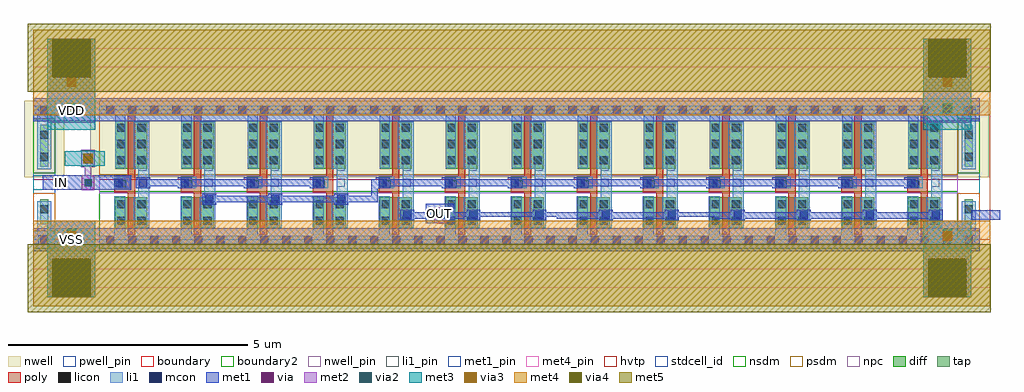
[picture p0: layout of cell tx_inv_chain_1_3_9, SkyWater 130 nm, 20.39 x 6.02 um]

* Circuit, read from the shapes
.subckt tx_inv_chain_1_3_9 IN OUT VDD VSS
XM1 sky130_fd_sc_hd__inv_1_32/A IN VSS VSS sky130_fd_pr__nfet_01v8 w=0.65 l=0.15
XM2 sky130_fd_sc_hd__inv_1_33/A sky130_fd_sc_hd__inv_1_32/A VSS VSS sky130_fd_pr__nfet_01v8 w=0.65 l=0.15 m=3
XM3 OUT sky130_fd_sc_hd__inv_1_33/A VSS VSS sky130_fd_pr__nfet_01v8 w=0.65 l=0.15 m=9
XM4 sky130_fd_sc_hd__inv_1_32/A IN VDD VDD sky130_fd_pr__pfet_01v8_hvt w=1 l=0.15
XM5 sky130_fd_sc_hd__inv_1_33/A sky130_fd_sc_hd__inv_1_32/A VDD VDD sky130_fd_pr__pfet_01v8_hvt w=1 l=0.15 m=3
XM6 OUT sky130_fd_sc_hd__inv_1_33/A VDD VDD sky130_fd_pr__pfet_01v8_hvt w=1 l=0.15 m=9
.ends

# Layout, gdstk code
import gdstk
lib = gdstk.Library(unit=1e-6, precision=1e-09)
def R(c, l, rs):  # rectangles x0, y0, x1, y1
    for r in rs: c.add(gdstk.rectangle(r[:2], r[2:], *l))
def A(c, l, x, y, w, h, nx, ny, dx, dy):  # array of equal rectangles
    R(c, l, [(x+i*dx, y+j*dy, x+i*dx+w, y+j*dy+h) for i in range(nx) for j in range(ny)])
def P(c, l, *ps):  # polygons
    for p in ps: c.add(gdstk.Polygon(p, *l))
nwell_pin = (64, 16)
nwell = (64, 20)
diff = (65, 20)
tap = (65, 44)
poly = (66, 20)
licon = (66, 44)
li1_pin = (67, 16)
li1 = (67, 20)
mcon = (67, 44)
met1_pin = (68, 16)
met1 = (68, 20)
via = (68, 44)
met2 = (69, 20)
via2 = (69, 44)
met3 = (70, 20)
via3 = (70, 44)
met4_pin = (71, 16)
met4 = (71, 20)
via4 = (71, 44)
met5 = (72, 20)
hvtp = (78, 44)
stdcell_id = (81, 4)
nsdm = (93, 44)
psdm = (94, 20)
npc = (95, 20)
pwell_pin = (122, 16)
boundary = (235, 4)
boundary2 = (236, 0)

via_m2m3_pr = lib.new_cell('VIA_M2M3_PR')
R(via_m2m3_pr, met2, [(-0.14,-0.185,0.14,0.185)])
R(via_m2m3_pr, met3, [(-0.165,-0.165,0.165,0.165)])
R(via_m2m3_pr, via3, [(-0.1,-0.1,0.1,0.1)])

via_m1m2_pr = lib.new_cell('VIA_M1M2_PR')
R(via_m1m2_pr, met1, [(-0.16,-0.13,0.16,0.13)])
R(via_m1m2_pr, met2, [(-0.13,-0.16,0.13,0.16)])
R(via_m1m2_pr, via2, [(-0.075,-0.075,0.075,0.075)])

via_l1m1_pr_mr = lib.new_cell('VIA_L1M1_PR_MR')
R(via_l1m1_pr_mr, li1, [(-0.085,-0.085,0.085,0.085)])
R(via_l1m1_pr_mr, mcon, [(-0.085,-0.085,0.085,0.085)])
R(via_l1m1_pr_mr, met1, [(-0.145,-0.115,0.145,0.115)])

sky130_fd_sc_hd__tapvpwr = lib.new_cell('sky130_fd_sc_hd__tapvpwrvgnd_1')
R(sky130_fd_sc_hd__tapvpwr, nwell, [(-0.19,1.305,0.65,2.91)])
R(sky130_fd_sc_hd__tapvpwr, tap, [(0.145,0.32,0.315,0.845), (0.145,1.525,0.315,2.4)])
R(sky130_fd_sc_hd__tapvpwr, licon, [(0.145,0.555,0.315,0.725), (0.145,1.645,0.315,1.815), (0.145,2.11,0.315,2.28)])
R(sky130_fd_sc_hd__tapvpwr, li1, [(0,-0.085,0.46,0.085), (0.085,0,0.375,0.81), (0.085,1.47,0.375,2.72), (0,2.635,0.46,2.805)])
R(sky130_fd_sc_hd__tapvpwr, mcon, [(0.145,-0.085,0.315,0.085), (0.145,2.635,0.315,2.805)])
R(sky130_fd_sc_hd__tapvpwr, met1_pin, [(0.105,-0.09,0.36,0.1), (0.11,2.62,0.375,2.765)])
R(sky130_fd_sc_hd__tapvpwr, met1, [(0,-0.24,0.46,0.24), (0,2.48,0.46,2.96)])
R(sky130_fd_sc_hd__tapvpwr, hvtp, [(0,1.25,0.46,2.72)])
R(sky130_fd_sc_hd__tapvpwr, stdcell_id, [(0,0,0.46,2.72)])
R(sky130_fd_sc_hd__tapvpwr, nsdm, [(0,-0.19,0.46,0.19), (0,1.395,0.46,2.53)])
R(sky130_fd_sc_hd__tapvpwr, psdm, [(0,0.19,0.46,0.975), (0,2.53,0.46,2.91)])
sky130_fd_sc_hd__tapvpwr.add(gdstk.Label('VPWR', (0.23,2.72), layer=68, texttype=5))
sky130_fd_sc_hd__tapvpwr.add(gdstk.Label('VGND', (0.23,0), layer=68, texttype=5))
sky130_fd_sc_hd__tapvpwr.add(gdstk.Label('tapvpwrvgnd_1', (0,0), layer=83, texttype=44))

sky130_fd_sc_hd__inv_1 = lib.new_cell('sky130_fd_sc_hd__inv_1')
R(sky130_fd_sc_hd__inv_1, nwell_pin, [(0.145,2.635,0.315,2.805), (0.145,2.635,0.315,2.805)])
R(sky130_fd_sc_hd__inv_1, nwell, [(-0.19,1.305,1.57,2.91)])
R(sky130_fd_sc_hd__inv_1, diff, [(0.34,0.235,1.01,0.885), (0.34,1.485,1.01,2.485)])
P(sky130_fd_sc_hd__inv_1, poly, [(0.6,0.105),(0.6,0.995),(0.32,0.995),(0.32,1.325),(0.6,1.325),(0.6,2.615),(0.75,2.615),(0.75,0.105)])
A(sky130_fd_sc_hd__inv_1, licon, 0.38, 1.575, 0.17, 0.17, 1, 3, 0, 0.34)
A(sky130_fd_sc_hd__inv_1, licon, 0.8, 1.575, 0.17, 0.17, 1, 3, 0, 0.34)
R(sky130_fd_sc_hd__inv_1, licon, [(0.38,0.315,0.55,0.485), (0.8,0.315,0.97,0.485), (0.38,0.655,0.55,0.825), (0.8,0.655,0.97,0.825), (0.4,1.075,0.57,1.245)])
R(sky130_fd_sc_hd__inv_1, li1_pin, [(0.36,1.105,0.53,1.275), (0.82,1.105,0.99,1.275), (0.82,1.445,0.99,1.615)])
R(sky130_fd_sc_hd__inv_1, li1, [(0,-0.085,1.38,0.085), (0.32,0.005,0.55,0.905), (0.32,1.075,0.65,1.315), (0.34,1.495,0.55,2.675), (0,2.635,1.38,2.805)])
P(sky130_fd_sc_hd__inv_1, li1, [(0.72,0.255),(0.72,0.885),(0.82,0.885),(0.82,1.485),(0.72,1.485),(0.72,2.465),(1.05,2.465),(1.05,0.255)])
A(sky130_fd_sc_hd__inv_1, mcon, 0.145, -0.085, 0.17, 0.17, 3, 2, 0.46, 2.72)
R(sky130_fd_sc_hd__inv_1, met1_pin, [(0.145,-0.085,0.315,0.085), (0.145,-0.085,0.315,0.085), (0.145,2.635,0.315,2.805), (0.145,2.635,0.315,2.805)])
R(sky130_fd_sc_hd__inv_1, hvtp, [(0,1.25,1.38,2.72)])
R(sky130_fd_sc_hd__inv_1, stdcell_id, [(0,0,1.38,2.72)])
R(sky130_fd_sc_hd__inv_1, nsdm, [(0,-0.19,1.38,1.015)])
R(sky130_fd_sc_hd__inv_1, psdm, [(0,1.355,1.38,2.91)])
R(sky130_fd_sc_hd__inv_1, npc, [(0,0.975,1.38,1.345)])
R(sky130_fd_sc_hd__inv_1, pwell_pin, [(0.145,-0.085,0.315,0.085), (0.145,-0.085,0.315,0.085)])
R(sky130_fd_sc_hd__inv_1, boundary2, [(0,0,1.38,2.72)])
sky130_fd_sc_hd__inv_1.add(gdstk.FlexPath([(0,2.72),(1.38,2.72)], 0.48, ends="flush", simple_path=True, layer=68, datatype=20))  # met1
sky130_fd_sc_hd__inv_1.add(gdstk.FlexPath([(0,0),(1.38,0)], 0.48, ends="flush", simple_path=True, layer=68, datatype=20))  # met1
sky130_fd_sc_hd__inv_1.add(gdstk.Label('VGND', (0.23,0), layer=68, texttype=5))
sky130_fd_sc_hd__inv_1.add(gdstk.Label('VPWR', (0.23,2.72), layer=68, texttype=5))
sky130_fd_sc_hd__inv_1.add(gdstk.Label('inv_1', (0,0), layer=83, texttype=44))
sky130_fd_sc_hd__inv_1.add(gdstk.Label('Y', (0.905,1.53), layer=67, texttype=5))
sky130_fd_sc_hd__inv_1.add(gdstk.Label('Y', (0.905,1.19), layer=67, texttype=5))
sky130_fd_sc_hd__inv_1.add(gdstk.Label('A', (0.445,1.19), layer=67, texttype=5))
sky130_fd_sc_hd__inv_1.add(gdstk.Label('VNB', (0.23,0), layer=64, texttype=59))
sky130_fd_sc_hd__inv_1.add(gdstk.Label('VPB', (0.23,2.72), layer=64, texttype=5))

tx_inv_chain_1_3_9 = lib.new_cell('tx_inv_chain_1_3_9')
R(tx_inv_chain_1_3_9, met1_pin, [(8.2,0.35,8.8,0.75), (0,1.05,1.2,1.35)])
R(tx_inv_chain_1_3_9, met1, [(0,-0.24,19.47,0.24), (19.6,0.42,20.2,0.62), (0.2,1.05,2.055,1.35), (2.23,1.12,5.995,1.26), (0,2.48,19.47,2.96)])
P(tx_inv_chain_1_3_9, met1, [(8.2,0.35),(8.2,0.44),(7.75,0.44),(7.75,0.58),(8.2,0.58),(8.2,0.75),(8.8,0.75),(8.8,0.58),(18.93,0.58),(18.93,0.44),(14.24,0.44),(14.24,0.48),(13.24,0.48),(13.24,0.44),(10.94,0.44),(10.94,0.48),(9,0.48),(9,0.44),(8.8,0.44),(8.8,0.35)],
  [(3.61,0.78),(3.61,0.92),(7.06,0.92),(7.06,1.26),(18.415,1.26),(18.415,1.12),(7.2,1.12),(7.2,0.78)])
R(tx_inv_chain_1_3_9, via, [(0.725,-0.01,0.875,0.14), (19.025,-0.01,19.175,0.14), (0.725,2.66,0.875,2.81), (19.025,2.66,19.175,2.81)])
R(tx_inv_chain_1_3_9, met2, [(0.3,-1.2,1.3,0.4), (18.6,-1.2,19.6,0.4), (8.44,0.34,8.58,0.58), (1.08,1.12,1.22,1.77), (0.3,2.45,1.3,4.2), (18.6,2.45,19.6,4.2)])
R(tx_inv_chain_1_3_9, via2, [(0.7,0.03,0.9,0.23), (19,0.03,19.2,0.23), (0.7,2.65,0.9,2.85), (19,2.65,19.2,2.85)])
R(tx_inv_chain_1_3_9, met3, [(0.3,-1.2,1.3,0.4), (18.6,-1.2,19.6,0.4), (0.66,1.55,1.5,1.85), (0.3,2.3,1.3,4.2), (18.6,2.3,19.6,4.2)])
R(tx_inv_chain_1_3_9, via3, [(0.7,-0.02,0.9,0.18), (19,-0.02,19.2,0.18), (0.7,3.2,0.9,3.4), (19,3.2,19.2,3.4)])
R(tx_inv_chain_1_3_9, met4_pin, [(0,-1,20,-0.6), (0,3.6,20,4)])
R(tx_inv_chain_1_3_9, met4, [(0,-1.39,20,0.4), (0,2.6,20,4.39)])
R(tx_inv_chain_1_3_9, via4, [(0.4,-1.2,1.2,-0.4), (18.7,-1.2,19.5,-0.4), (0.4,3.4,1.2,4.2), (18.7,3.4,19.5,4.2)])
R(tx_inv_chain_1_3_9, met5, [(-0.11,-1.51,20.01,-0.09), (-0.11,3.09,20.01,4.51)])
R(tx_inv_chain_1_3_9, boundary, [(0,0,20,4)])
tx_inv_chain_1_3_9.add(gdstk.Reference(via_m2m3_pr, (1.15,1.7)))
tx_inv_chain_1_3_9.add(gdstk.Reference(via_m1m2_pr, (1.15,1.19)))
tx_inv_chain_1_3_9.add(gdstk.Reference(via_l1m1_pr_mr, (1.785,1.19)))
tx_inv_chain_1_3_9.add(gdstk.Reference(via_l1m1_pr_mr, (17.48,0.51)))
tx_inv_chain_1_3_9.add(gdstk.Reference(via_l1m1_pr_mr, (18.86,0.51)))
tx_inv_chain_1_3_9.add(gdstk.Reference(via_l1m1_pr_mr, (16.1,0.51)))
tx_inv_chain_1_3_9.add(gdstk.Reference(via_l1m1_pr_mr, (14.72,0.51)))
tx_inv_chain_1_3_9.add(gdstk.Reference(via_l1m1_pr_mr, (13.34,0.51)))
tx_inv_chain_1_3_9.add(gdstk.Reference(via_l1m1_pr_mr, (11.96,0.51)))
tx_inv_chain_1_3_9.add(gdstk.Reference(via_l1m1_pr_mr, (10.58,0.51)))
tx_inv_chain_1_3_9.add(gdstk.Reference(via_l1m1_pr_mr, (9.2,0.51)))
tx_inv_chain_1_3_9.add(gdstk.Reference(via_l1m1_pr_mr, (7.82,0.51)))
tx_inv_chain_1_3_9.add(gdstk.Reference(via_m1m2_pr, (8.51,0.51)))
tx_inv_chain_1_3_9.add(gdstk.Reference(via_l1m1_pr_mr, (3.165,1.19)))
tx_inv_chain_1_3_9.add(gdstk.Reference(via_l1m1_pr_mr, (2.3,1.19)))
tx_inv_chain_1_3_9.add(gdstk.Reference(via_l1m1_pr_mr, (4.545,1.19)))
tx_inv_chain_1_3_9.add(gdstk.Reference(via_l1m1_pr_mr, (5.925,1.19)))
tx_inv_chain_1_3_9.add(gdstk.Reference(via_l1m1_pr_mr, (5.06,0.85)))
tx_inv_chain_1_3_9.add(gdstk.Reference(via_l1m1_pr_mr, (3.68,0.85)))
tx_inv_chain_1_3_9.add(gdstk.Reference(via_l1m1_pr_mr, (6.44,0.85)))
tx_inv_chain_1_3_9.add(gdstk.Reference(via_l1m1_pr_mr, (7.305,1.19)))
tx_inv_chain_1_3_9.add(gdstk.Reference(via_l1m1_pr_mr, (8.685,1.19)))
tx_inv_chain_1_3_9.add(gdstk.Reference(via_l1m1_pr_mr, (10.065,1.19)))
tx_inv_chain_1_3_9.add(gdstk.Reference(via_l1m1_pr_mr, (11.445,1.19)))
tx_inv_chain_1_3_9.add(gdstk.Reference(via_l1m1_pr_mr, (12.825,1.19)))
tx_inv_chain_1_3_9.add(gdstk.Reference(via_l1m1_pr_mr, (14.205,1.19)))
tx_inv_chain_1_3_9.add(gdstk.Reference(via_l1m1_pr_mr, (15.585,1.19)))
tx_inv_chain_1_3_9.add(gdstk.Reference(via_l1m1_pr_mr, (16.965,1.19)))
tx_inv_chain_1_3_9.add(gdstk.Reference(via_l1m1_pr_mr, (18.345,1.19)))
tx_inv_chain_1_3_9.add(gdstk.Reference(sky130_fd_sc_hd__tapvpwr, (0,0)))
tx_inv_chain_1_3_9.add(gdstk.Reference(sky130_fd_sc_hd__tapvpwr, (19.32,0)))
tx_inv_chain_1_3_9.add(gdstk.Reference(sky130_fd_sc_hd__inv_1, (1.38,0)))
tx_inv_chain_1_3_9.add(gdstk.Reference(sky130_fd_sc_hd__inv_1, (2.76,0)))
tx_inv_chain_1_3_9.add(gdstk.Reference(sky130_fd_sc_hd__inv_1, (15.18,0)))
tx_inv_chain_1_3_9.add(gdstk.Reference(sky130_fd_sc_hd__inv_1, (16.56,0)))
tx_inv_chain_1_3_9.add(gdstk.Reference(sky130_fd_sc_hd__inv_1, (17.94,0)))
tx_inv_chain_1_3_9.add(gdstk.Reference(sky130_fd_sc_hd__inv_1, (4.14,0)))
tx_inv_chain_1_3_9.add(gdstk.Reference(sky130_fd_sc_hd__inv_1, (5.52,0)))
tx_inv_chain_1_3_9.add(gdstk.Reference(sky130_fd_sc_hd__inv_1, (6.9,0)))
tx_inv_chain_1_3_9.add(gdstk.Reference(sky130_fd_sc_hd__inv_1, (8.28,0)))
tx_inv_chain_1_3_9.add(gdstk.Reference(sky130_fd_sc_hd__inv_1, (9.66,0)))
tx_inv_chain_1_3_9.add(gdstk.Reference(sky130_fd_sc_hd__inv_1, (11.04,0)))
tx_inv_chain_1_3_9.add(gdstk.Reference(sky130_fd_sc_hd__inv_1, (12.42,0)))
tx_inv_chain_1_3_9.add(gdstk.Reference(sky130_fd_sc_hd__inv_1, (13.8,0)))
tx_inv_chain_1_3_9.add(gdstk.Label('VDD', (0.8,2.7), layer=68, texttype=5))
tx_inv_chain_1_3_9.add(gdstk.Label('VSS', (0.8,0), layer=68, texttype=5))
tx_inv_chain_1_3_9.add(gdstk.Label('IN', (0.6,1.2), layer=68, texttype=5))
tx_inv_chain_1_3_9.add(gdstk.Label('OUT', (8.5,0.55), layer=68, texttype=5))

lib.write_gds('tx_inv_chain_1_3_9.gds')
